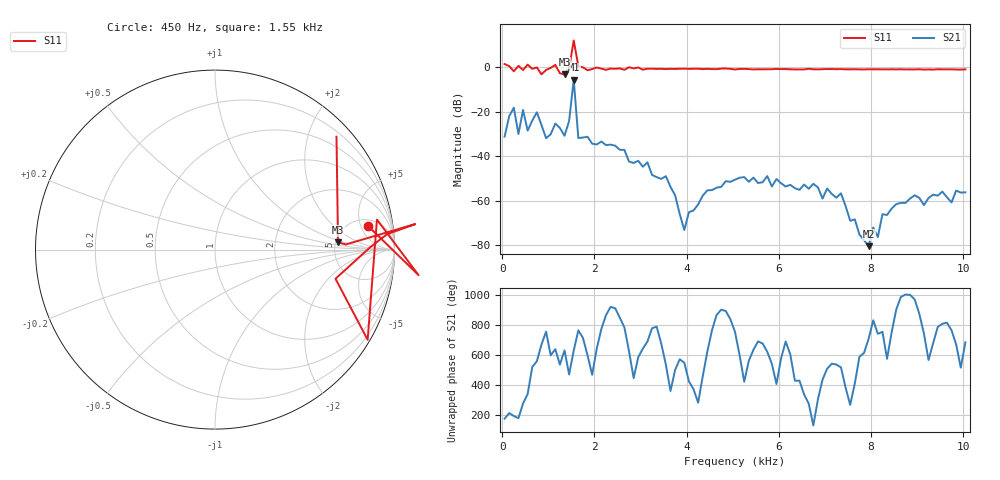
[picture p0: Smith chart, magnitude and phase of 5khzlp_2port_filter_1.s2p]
# HZ S RI R 50
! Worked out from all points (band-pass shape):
!   101 points, 50 Hz to 10.05 kHz, reference 50 ohm
!   highest |S21| = -5.64 dB at 1.55 kHz (marker M1); lowest = -80.3 dB at 7.95 kHz (marker M2)
!   |S21| within 3 dB of the highest: 1.534 kHz to 1.561 kHz (27.67 Hz wide, 1.79 % of centre)
!   lowest |S11| = -3.3 dB at 1.35 kHz (marker M3), VSWR 5.38, Z = 263 + j40.2 ohm
!   |S11| at or under -10 dB: nowhere
!   S12 and S22 are empty: the file has one direction only
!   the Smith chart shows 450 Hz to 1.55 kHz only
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50  1.175 -0.0453  -0.0275 0.00198  0 0  0 0
250  0.791 0.1575  -0.1196 -0.0281  0 0  0 0
350  1.071 -0.0237  -0.0316 0.000705  0 0  0 0
450  0.8528 0.1316  0.0128 -0.1086  0 0  0 0
550  1.134 -0.1422  0.0354 -0.0129  0 0  0 0
650  0.9023 0.1672  -0.0593 0.0218  0 0  0 0
750  0.8505 -0.5025  -0.0919 -0.031  0 0  0 0
950  0.8659 0.0142  0.0206 0.015  0 0  0 0
1350  0.6855 0.0404  0.000754 -0.0289  0 0  0 0
1450  0.6769 0.6289  -0.0217 0.0581  0 0  0 0
1550  3.057 -2.546  -0.0014 -0.5222  0 0  0 0
1650  1.05 -0.1346  0.0183 0.018  0 0  0 0
1750  0.9816 -0.1456  0.0262 -0.00272  0 0  0 0
3450  0.917 -0.056  0.00223 -0.00216  0 0  0 0
3950  0.9267 -0.0406  -0.000219 -3.47e-05  0 0  0 0
4450  0.9188 -0.0387  -0.000214 -0.00171  0 0  0 0
5050  0.8877 -0.0391  0.00246 0.00169  0 0  0 0
6750  0.897 -0.039  -0.00156 0.00184  0 0  0 0
7350  0.9047 -0.0383  -0.00136 0.000555  0 0  0 0
7950  0.8957 -0.0391  9.42e-05 -1.91e-05  0 0  0 0
8450  0.8949 -0.0388  0.000567 0.00036  0 0  0 0
10050  0.8929 -0.0414  0.00128 -0.000885  0 0  0 0
